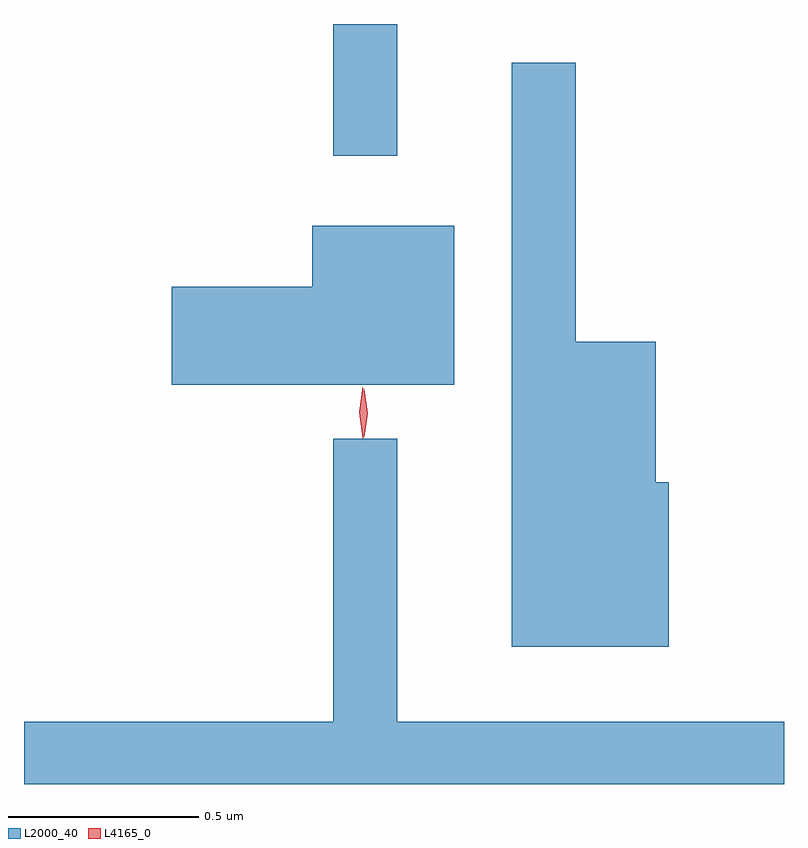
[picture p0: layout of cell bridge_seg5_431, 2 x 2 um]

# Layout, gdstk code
import gdstk
lib = gdstk.Library(unit=1e-6, precision=1e-09)
def R(c, l, rs):  # rectangles x0, y0, x1, y1
    for r in rs: c.add(gdstk.rectangle(r[:2], r[2:], *l))
def P(c, l, *ps):  # polygons
    for p in ps: c.add(gdstk.Polygon(p, *l))
L2000_40 = (2000, 40)
L4165_0 = (4165, 0)

bridge_seg5_431 = lib.new_cell('bridge_seg5_431')
R(bridge_seg5_431, L2000_40, [(438.831,1516.273,438.999,1516.62)])
P(bridge_seg5_431, L2000_40, [(439.714,1515.414),(439.679,1515.414),(439.679,1515.784),(439.469,1515.784),(439.469,1516.518),(439.301,1516.518),(439.301,1514.981),(439.714,1514.981)],
  [(439.149,1516.089),(438.776,1516.089),(438.776,1515.929),(438.406,1515.929),(438.406,1515.671),(439.149,1515.671)],
  [(440.017,1514.784),(438.999,1514.784),(438.999,1515.528),(438.831,1515.528),(438.831,1514.784),(438.017,1514.784),(438.017,1514.62),(440.017,1514.62)])
P(bridge_seg5_431, L4165_0, [(438.912,1515.533),(438.912,1515.533),(438.902,1515.596),(438.912,1515.659),(438.912,1515.66),(438.913,1515.659),(438.922,1515.596),(438.913,1515.533)],
  [(438.909,1515.53),(438.909,1515.53),(438.899,1515.598),(438.908,1515.666),(438.908,1515.666),(438.909,1515.666),(438.919,1515.598),(438.91,1515.53)])

lib.write_gds('bridge_seg5_431.gds')
